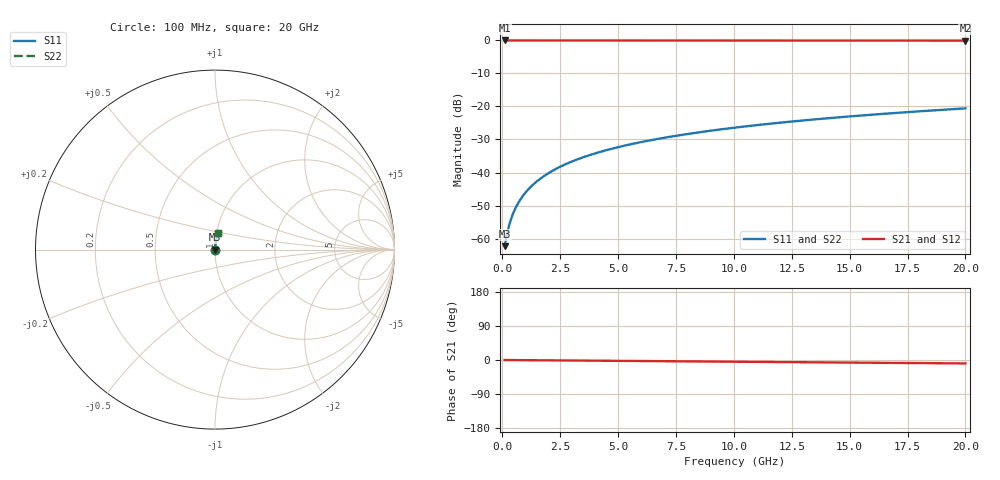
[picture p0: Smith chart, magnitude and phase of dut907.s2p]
! Touchstone file exported from HFSS 2026.1.0
!  File:  C:/ffzhzh/LocalFiles/Ansys_Project_Files/temp_train_TSV_907_1783186293_22436.aedt
!  Generated:  01:33:57 AM Jul  5, 2026
!  Design:  TSV
!  Project:  temp_train_TSV_907_1783186293_22436
! Variables:
!  h_bsmrdl = 2um
!  h_ox = 20um
!  h_rdl = 5um
!  h_sub = 68.34um
!  h_tmrdl = 5um
!  h_tsv = 68.34um
!  h_via = 3um
!  l_bsmrdl = 300um
!  l_sub = 407.56um
!  l_tmrdl = 200um
!  m_sub = 200um
!  pitch = 45.24um
!  r_tsv = 3.78um
!  s_tmrdl = 10um
!  w_bsmrdl = 18um
!  w_sub = 500um
!  w_tmrdl = 12um
!  x_tsv_center1 = 206um
!  x_tsv_center2 = 524um
!  x_tsv_center3 = 736um
!  x_tsv_center4 = 1054um
!  x_tsv_center5 = 1266um
!  x_tsv_center6 = 1584um
# GHz S MA R 50.000000
! Terminal data exported
! Port[1] = TSV1_1_T1
! Port[2] = TSV1_1_T2
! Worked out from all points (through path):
!   200 points, 100 MHz to 20 GHz, reference 50 ohm
!   highest |S21| = -0.01 dB at 100 MHz (marker M1); lowest = -0.1 dB at 20 GHz (marker M2)
!   group delay of S21, straight-line fit = 1.25 ps
!   lowest |S11| = -62.3 dB at 100 MHz (marker M3), VSWR 1.00, Z = 50.1 + j0.0503 ohm
!   |S11| at or under -10 dB: start of sweep to end of sweep
!   |S22| runs from -62.3 to -20.6 dB; largest |S21 - S12| = 4e-15
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0.1  0.0007662 41.0  0.9994 -0.0  0.9994 -0.0  0.0007662 41.0
! Gamma 0 0 0 0
! Port Impedance 50 0 50 0
0.2  0.001161 59.6  0.9994 -0.1  0.9994 -0.1  0.001161 59.6
0.3  0.001611 68.1  0.9994 -0.1  0.9994 -0.1  0.001611 68.1
0.4  0.002078 72.8  0.9994 -0.2  0.9994 -0.2  0.002078 72.8
0.5  0.002551 75.8  0.9994 -0.2  0.9994 -0.2  0.002551 75.8
0.6  0.003029 77.9  0.9994 -0.3  0.9994 -0.3  0.003029 77.9
0.8  0.00399 80.5  0.9994 -0.4  0.9994 -0.4  0.00399 80.5
1.1  0.005441 82.6  0.9993 -0.5  0.9993 -0.5  0.005441 82.6
1.5  0.007382 84.0  0.9993 -0.7  0.9993 -0.7  0.007382 84.0
1.8  0.008838 84.6  0.9992 -0.8  0.9992 -0.8  0.008838 84.6
2.1  0.01029 84.9  0.9992 -1.0  0.9992 -1.0  0.01029 84.9
2.7  0.01319 85.2  0.9991 -1.3  0.9991 -1.3  0.01319 85.2
3.5  0.01704 85.3  0.9989 -1.6  0.9989 -1.6  0.01704 85.3
4.2  0.02039 85.3  0.9988 -1.9  0.9988 -1.9  0.02039 85.3
5  0.02419 85.1  0.9986 -2.3  0.9986 -2.3  0.02419 85.1
5.9  0.02845 84.8  0.9984 -2.7  0.9984 -2.7  0.02845 84.8
6.8  0.03268 84.5  0.9981 -3.1  0.9981 -3.1  0.03268 84.5
8.3  0.0397 84.0  0.9977 -3.8  0.9977 -3.8  0.0397 84.0
10.1  0.04807 83.4  0.9972 -4.6  0.9972 -4.6  0.04807 83.4
13.4  0.06333 82.2  0.9961 -6.1  0.9961 -6.1  0.06333 82.2
16.7  0.07849 80.9  0.9948 -7.6  0.9948 -7.6  0.07849 80.9
20  0.09352 79.5  0.9933 -9.0  0.9933 -9.0  0.09352 79.5
